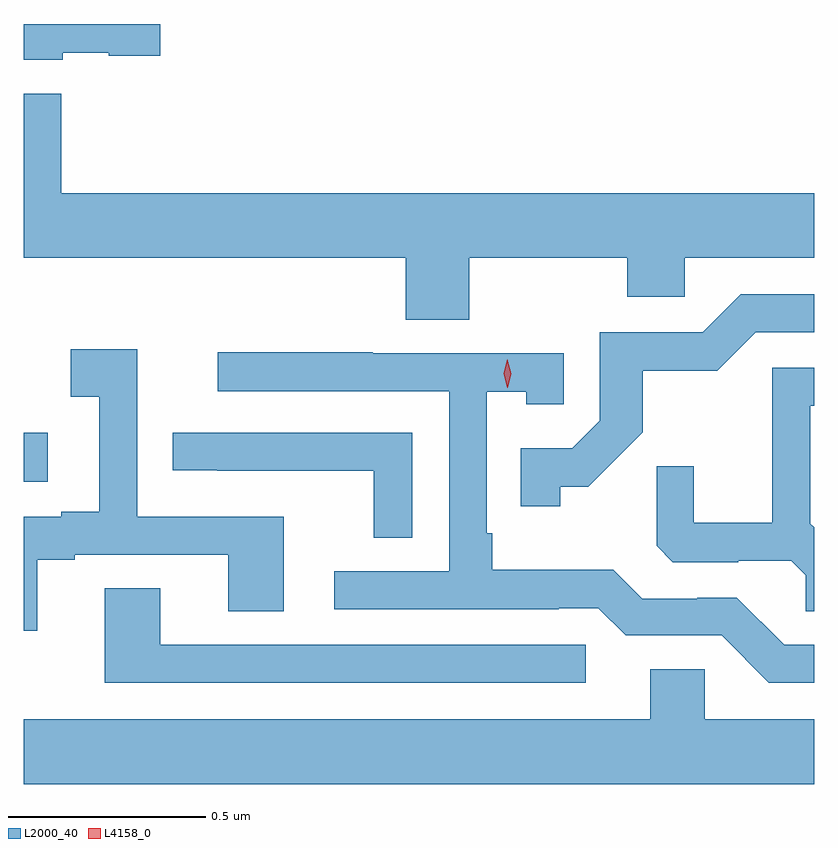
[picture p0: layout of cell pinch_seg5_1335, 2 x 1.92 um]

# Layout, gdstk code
import gdstk
lib = gdstk.Library(unit=1e-6, precision=1e-09)
def R(c, l, rs):  # rectangles x0, y0, x1, y1
    for r in rs: c.add(gdstk.rectangle(r[:2], r[2:], *l))
def P(c, l, *ps):  # polygons
    for p in ps: c.add(gdstk.Polygon(p, *l))
L2000_40 = (2000, 40)
L4158_0 = (4158, 0)

pinch_seg5_1335 = lib.new_cell('pinch_seg5_1335')
R(pinch_seg5_1335, L2000_40, [(371.626,864.185,371.686,864.309)])
P(pinch_seg5_1335, L2000_40, [(371.724,865.271),(371.841,865.271),(371.841,865.264),(371.971,865.264),(371.971,865.344),(371.626,865.344),(371.626,865.253),(371.724,865.253)],
  [(372.753,864.752),(373.153,864.752),(373.153,864.654),(373.299,864.654),(373.299,864.752),(373.626,864.752),(373.626,864.916),(371.72,864.916),(371.72,865.168),(371.626,865.168),(371.626,864.752),(372.593,864.752),(372.593,864.595),(372.753,864.595)],
  [(372.984,864.173),(373.054,864.173),(373.192,864.31),(373.192,864.466),(373.381,864.466),(373.479,864.564),(373.626,864.564),(373.626,864.66),(373.44,864.66),(373.344,864.564),(373.083,864.564),(373.083,864.339),(373.014,864.27),(372.883,864.27),(372.883,864.123),(372.984,864.123)],
  [(371.659,863.988),(371.755,863.988),(371.755,864),(372.143,864),(372.143,863.857),(372.283,863.857),(372.283,864.096),(371.913,864.096),(371.913,864.52),(371.745,864.52),(371.745,864.4),(371.816,864.4),(371.816,864.109),(371.72,864.109),(371.72,864.096),(371.626,864.096),(371.626,863.808),(371.659,863.808)],
  [(373.626,863.772),(373.551,863.772),(373.431,863.892),(373.33,863.892),(373.33,863.889),(373.191,863.889),(373.118,863.962),(372.811,863.962),(372.811,864.055),(372.798,864.055),(372.798,864.413),(372.897,864.413),(372.897,864.381),(372.993,864.381),(372.993,864.51),(372.509,864.51),(372.509,864.513),(372.117,864.513),(372.117,864.414),(372.702,864.414),(372.702,863.958),(372.411,863.958),(372.411,863.862),(372.98,863.862),(372.98,863.865),(373.08,863.865),(373.149,863.796),(373.392,863.796),(373.512,863.676),(373.626,863.676)],
  [(373.626,864.07),(373.617,864.079),(373.617,864.378),(373.626,864.378),(373.626,864.474),(373.52,864.474),(373.52,864.082),(373.322,864.082),(373.322,864.225),(373.228,864.225),(373.228,864.023),(373.269,863.982),(373.434,863.982),(373.434,863.985),(373.568,863.985),(373.605,863.948),(373.605,863.857),(373.626,863.857)],
  [(372.609,864.309),(372.003,864.309),(372.003,864.214),(372.115,864.214),(372.115,864.213),(372.511,864.213),(372.511,864.043),(372.609,864.043)],
  [(373.048,863.772),(371.971,863.772),(371.971,863.915),(371.831,863.915),(371.831,863.676),(373.048,863.676)],
  [(373.626,863.584),(373.35,863.584),(373.35,863.711),(373.211,863.711),(373.211,863.584),(371.626,863.584),(371.626,863.42),(373.626,863.42)])
P(pinch_seg5_1335, L4158_0, [(372.85,864.423),(372.84,864.458),(372.849,864.495),(372.849,864.495),(372.849,864.495),(372.86,864.459),(372.851,864.423),(372.851,864.423)])

lib.write_gds('pinch_seg5_1335.gds')
